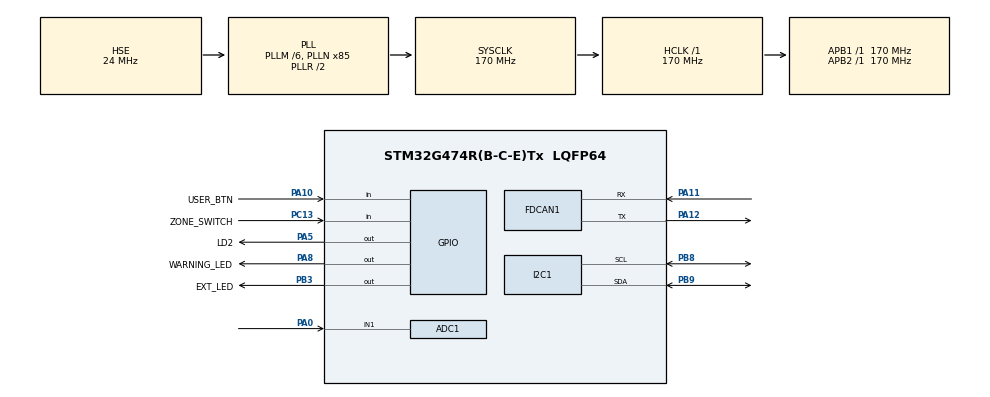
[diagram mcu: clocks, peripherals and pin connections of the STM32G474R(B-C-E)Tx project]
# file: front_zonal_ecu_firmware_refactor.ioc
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ADC1.Channel-0\#ChannelRegularConversion=ADC_CHANNEL_1
ADC1.NbrOfConversionFlag=1
ADC1.OffsetNumber-0\#ChannelRegularConversion=ADC_OFFSET_NONE
ADC1.Rank-0\#ChannelRegularConversion=1
ADC1.SamplingTime-0\#ChannelRegularConversion=ADC_SAMPLETIME_47CYCLES_5
ADC1.master=1
FDCAN1.AutoRetransmission=ENABLE
FDCAN1.CalculateBaudRateNominal=500000
FDCAN1.CalculateTimeBitNominal=2000
FDCAN1.CalculateTimeQuantumNominal=100.0
FDCAN1.DataPrescaler=5
FDCAN1.DataSyncJumpWidth=3
FDCAN1.DataTimeSeg1=13
FDCAN1.DataTimeSeg2=3
FDCAN1.FrameFormat=FDCAN_FRAME_FD_BRS
FDCAN1.Mode=FDCAN_MODE_INTERNAL_LOOPBACK
FDCAN1.NominalPrescaler=17
FDCAN1.NominalSyncJumpWidth=4
FDCAN1.NominalTimeSeg1=15
FDCAN1.NominalTimeSeg2=4
FDCAN1.StdFiltersNbr=2
I2C1.Timing=0x40B285C2
Mcu.Family=STM32G4
Mcu.Name=STM32G474R(B-C-E)Tx
Mcu.Package=LQFP64
NVIC.FDCAN1_IT0_IRQn=true\:0\:0\:false\:false\:true\:true\:true\:true
NVIC.PriorityGroup=NVIC_PRIORITYGROUP_4
PA0.Mode=IN1-Single-Ended
PA0.Signal=ADC1_IN1
PA10.GPIO_Label=USER_BTN
PA10.GPIO_PuPd=GPIO_PULLUP
PA10.Signal=GPIO_Input
PA11.Mode=FDCAN_Activate
PA11.Signal=FDCAN1_RX
PA12.Mode=FDCAN_Activate
PA12.Signal=FDCAN1_TX
PA5.GPIO_Label=LD2
PA5.Signal=GPIO_Output
PA8.GPIO_Label=WARNING_LED
PA8.Signal=GPIO_Output
PB3.GPIO_Label=EXT_LED
PB3.Signal=GPIO_Output
PB8-BOOT0.Mode=I2C
PB8-BOOT0.Signal=I2C1_SCL
PB9.Mode=I2C
PB9.Signal=I2C1_SDA
PC13.GPIO_Label=ZONE_SWITCH
PC13.GPIO_PuPd=GPIO_NOPULL
PC13.Signal=GPIO_Input
PF0-OSC_IN.Mode=HSE-External-Oscillator
PF0-OSC_IN.Signal=RCC_OSC_IN
PF1-OSC_OUT.Mode=HSE-External-Oscillator
PF1-OSC_OUT.Signal=RCC_OSC_OUT
ProjectManager.HeapSize=0x200
ProjectManager.StackSize=0x400
ProjectManager.TargetToolchain=STM32CubeIDE
RCC.ADC12Freq_Value=170000000
RCC.ADC345Freq_Value=170000000
RCC.AHBFreq_Value=170000000
RCC.APB1Freq_Value=170000000
RCC.APB1TimFreq_Value=170000000
RCC.APB2Freq_Value=170000000
RCC.APB2TimFreq_Value=170000000
RCC.CortexFreq_Value=170000000
RCC.EXTERNAL_CLOCK_VALUE=12288000
RCC.HCLKFreq_Value=170000000
RCC.HSE_VALUE=24000000
RCC.HSI48_VALUE=48000000
RCC.HSI_VALUE=16000000
RCC.LSE_VALUE=32768
RCC.PLLM=RCC_PLLM_DIV6
RCC.PLLN=85
RCC.PLLSourceVirtual=RCC_PLLSOURCE_HSE
RCC.SYSCLKFreq_VALUE=170000000
RCC.SYSCLKSource=RCC_SYSCLKSOURCE_PLLCLK
RCC.USBFreq_Value=170000000
RCC.VCOOutputFreq_Value=340000000
VP_SYS_VS_DBSignals.Mode=DisableDeadBatterySignals
board=NUCLEO-G474RE

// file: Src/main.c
/* USER CODE BEGIN Header */
/**
  ******************************************************************************
  * @file           : main.c
  * @brief          : Main program body
  ******************************************************************************
  * @attention
  *
  * Copyright (c) 2026 STMicroelectronics.
  * All rights reserved.
  *
  * This software is licensed under terms that can be found in the LICENSE file
  * in the root directory of this software component.
  * If no LICENSE file comes with this software, it is provided AS-IS.
  *
  ******************************************************************************
  */
/* USER CODE END Header */
#include "main.h"
#include "adc.h"
#include "fdcan.h"
#include "i2c.h"
#include "gpio.h"

/* USER CODE BEGIN Includes */
#include "can_protocol.h"
#include "can_service.h"
#include "central_sim.h"
#include "distance_sensor_service.h"
#include "front_zonal_app.h"
#include "input_service_stm32.h"
/* USER CODE END Includes */

/* USER CODE BEGIN PV */

CanService can_service;
CanServiceStatus can_status;

DistanceSensorStatus distance_sensor_status;
InputService input_service;
InputServiceStatus input_status;

CentralSimulator central_simulator;
FrontZonalApp front_zonal_app;

volatile uint8_t distance_sensor_fault_injection = 0U;

/* USER CODE END PV */

void SystemClock_Config(void);

int main(void)
{

  /* MCU Configuration--------------------------------------------------------*/

  /* Reset of all peripherals, Initializes the Flash interface and the Systick. */
  HAL_Init();

  /* Configure the system clock */
  SystemClock_Config();

  /* Initialize all configured peripherals */
  MX_GPIO_Init();
  MX_FDCAN1_Init();
  MX_ADC1_Init();
  MX_I2C1_Init();
  /* USER CODE BEGIN 2 */
  if (InputServiceStm32_Init(
          &input_service,
          HAL_GetTick()) == 0U)
  {
    Error_Handler();
  }
  InputService_GetSnapshot(
      &input_service,
      &input_status);

  DistanceSensorService_Init();
  DistanceSensorService_GetSnapshot(
      &distance_sensor_status);

  /* Initialize CAN FD transport and RX notification. */
  if (CanService_Init(
          &can_service,
          &hfdcan1,
          HAL_GetTick()) == 0U)
  {
      Error_Handler();
  }
  CanService_GetSnapshot(
      &can_service,
      &can_status);
  CentralSimulator_Init(
      &central_simulator,
      HAL_GetTick());
  FrontZonalApp_Init(&front_zonal_app);

  /* USER CODE END 2 */

  /* Infinite loop */
  /* USER CODE BEGIN WHILE */
  while (1)
  {
      uint32_t current_time = HAL_GetTick();

      DistanceSensorService_Process(current_time);
      DistanceSensorService_GetSnapshot(
          &distance_sensor_status);

      /* Nucleo B1 사용자 버튼 원시값 읽기 */
      InputServiceStm32_Process(
          &input_service,
          current_time);
      InputService_GetSnapshot(
          &input_service,
          &input_status);
      CanService_GetSnapshot(
          &can_service,
          &can_status);

      /* Update vehicle state and requested outputs. */
      FrontZonalAppInput app_input = {0};

      app_input.command_received =
          (uint8_t)(can_status.central_command_rx_count > 0U);
      app_input.last_command_rx_time_ms =
          can_status.last_central_command_rx_time_ms;
      app_input.command_led_request =
          can_status.last_central_command.led_request;
      app_input.command_warning_led_request =
          can_status.last_central_command.warning_led_request;
      app_input.distance_sensor_ready =
          distance_sensor_status.api_ready;
      app_input.distance_valid =
          distance_sensor_status.measurement_valid;
      app_input.distance_range_status =
          distance_sensor_status.range_status;
      app_input.distance_sensor_fault_injection =
          distance_sensor_fault_injection;

      FrontZonalApp_Process(
          &front_zonal_app,
          &app_input,
          current_time);

      HAL_GPIO_WritePin(
          LD2_GPIO_Port,
          LD2_Pin,
          (front_zonal_app.applied_led_output != 0U) ?
              GPIO_PIN_SET : GPIO_PIN_RESET);

      HAL_GPIO_WritePin(
          WARNING_LED_GPIO_Port,
          WARNING_LED_Pin,
          (front_zonal_app.applied_warning_led_output != 0U) ?
              GPIO_PIN_SET : GPIO_PIN_RESET);

      /* 마지막 송신으로부터 100ms가 지났는지 확인 */
      if (CanService_IsFrontStatusTxDue(
              &can_service,
              current_time) != 0U)
      {
          FrontZonalStatus status_message = {0};
          FrontZonalStatusInput status_input = {0};

          status_input.alive_counter =
              CanService_GetNextFrontStatusAliveCounter(
                  &can_service);
          status_input.uptime_ms = current_time;
          status_input.adc_raw =
              (uint16_t)input_status.adc_raw;
          status_input.adc_valid =
              input_status.adc_valid;
          status_input.zone_switch =
              input_status.zone_switch_debounced;
          status_input.distance_mm =
              distance_sensor_status.distance_mm;
          status_input.distance_range_status =
              distance_sensor_status.range_status;
          status_input.distance_valid =
              distance_sensor_status.measurement_valid;
          status_input.distance_sensor_ready =
              distance_sensor_status.api_ready;
          status_input.distance_sensor_fault_injection =
              distance_sensor_fault_injection;

          FrontZonalApp_BuildStatus(
              &front_zonal_app,
              &status_input,
              &status_message);

          (void)CanService_SendFrontStatus(
              &can_service,
              &status_message);
      }
      /* Pi가 연결되기 전까지만 사용하는 Central Computer 시뮬레이터 */
      CanService_GetSnapshot(
          &can_service,
          &can_status);

      CentralSimulatorInput central_input = {0};
      CentralControlCommand command_message = {0};

      central_input.distance_mm =
          can_status.last_front_status.distance_mm;
      central_input.range_status =
          can_status.last_front_status.range_status;
      central_input.distance_valid =
          can_status.last_front_status.distance_valid;
      central_input.distance_sensor_ready =
          can_status.last_front_status.vl53l0x_ready;
      central_input.last_status_rx_time_ms =
          can_status.last_front_status_rx_time_ms;

      if (CentralSimulator_BuildCommandIfDue(
              &central_simulator,
              &central_input,
              current_time,
              &command_message) != 0U)
      {
          if (CanService_SendCentralCommand(
                  &can_service,
                  &command_message) != 0U)
          {
              CentralSimulator_ConfirmCommandTransmitted(
                  &central_simulator);
          }
      }

      /*
       * 한 번 이상 송신했는데 300ms 동안 수신이 없으면
       * 통신이 끊긴 것으로 판단
       */
      CanService_Process(
          &can_service,
          current_time);
      CanService_GetSnapshot(
          &can_service,
          &can_status);

    /* USER CODE END WHILE */

  }
}

void SystemClock_Config(void)
{
  RCC_OscInitTypeDef RCC_OscInitStruct = {0};
  RCC_ClkInitTypeDef RCC_ClkInitStruct = {0};

  /** Configure the main internal regulator output voltage
  */
  HAL_PWREx_ControlVoltageScaling(PWR_REGULATOR_VOLTAGE_SCALE1_BOOST);

  /** Initializes the RCC Oscillators according to the specified parameters
  * in the RCC_OscInitTypeDef structure.
  */
  RCC_OscInitStruct.OscillatorType = RCC_OSCILLATORTYPE_HSE;
  RCC_OscInitStruct.HSEState = RCC_HSE_ON;
  RCC_OscInitStruct.PLL.PLLState = RCC_PLL_ON;
  RCC_OscInitStruct.PLL.PLLSource = RCC_PLLSOURCE_HSE;
  RCC_OscInitStruct.PLL.PLLM = RCC_PLLM_DIV6;
  RCC_OscInitStruct.PLL.PLLN = 85;
  RCC_OscInitStruct.PLL.PLLP = RCC_PLLP_DIV2;
  RCC_OscInitStruct.PLL.PLLQ = RCC_PLLQ_DIV2;
  RCC_OscInitStruct.PLL.PLLR = RCC_PLLR_DIV2;
  if (HAL_RCC_OscConfig(&RCC_OscInitStruct) != HAL_OK)
  {
    Error_Handler();
  }

  /** Initializes the CPU, AHB and APB buses clocks
  */
  RCC_ClkInitStruct.ClockType = RCC_CLOCKTYPE_HCLK|RCC_CLOCKTYPE_SYSCLK
                              |RCC_CLOCKTYPE_PCLK1|RCC_CLOCKTYPE_PCLK2;
  RCC_ClkInitStruct.SYSCLKSource = RCC_SYSCLKSOURCE_PLLCLK;
  RCC_ClkInitStruct.AHBCLKDivider = RCC_SYSCLK_DIV1;
  RCC_ClkInitStruct.APB1CLKDivider = RCC_HCLK_DIV1;
  RCC_ClkInitStruct.APB2CLKDivider = RCC_HCLK_DIV1;

  if (HAL_RCC_ClockConfig(&RCC_ClkInitStruct, FLASH_LATENCY_4) != HAL_OK)
  {
    Error_Handler();
  }
}

/* USER CODE BEGIN 4 */

void HAL_FDCAN_RxFifo0Callback(
    FDCAN_HandleTypeDef *hfdcan,
    uint32_t RxFifo0ITs)
{
    CanService_OnRxFifo0Interrupt(
        &can_service,
        hfdcan,
        RxFifo0ITs,
        HAL_GetTick());
}

/* USER CODE END 4 */

void Error_Handler(void)
{
  __disable_irq();
  while (1)
  {
  }
}
